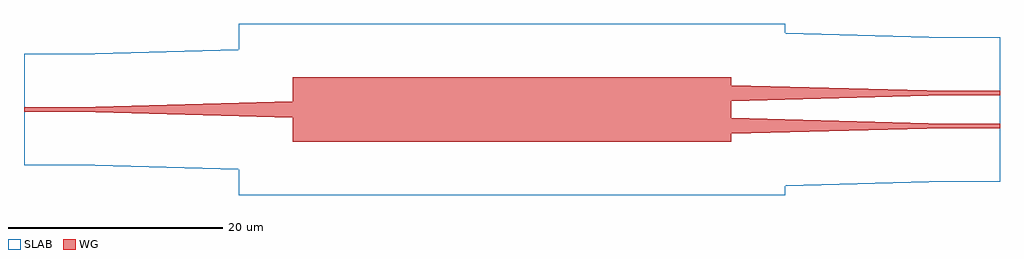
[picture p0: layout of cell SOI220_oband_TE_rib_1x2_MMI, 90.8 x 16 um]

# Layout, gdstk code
import gdstk
lib = gdstk.Library(unit=1e-6, precision=1e-09)
def R(c, l, rs):  # rectangles x0, y0, x1, y1
    for r in rs: c.add(gdstk.rectangle(r[:2], r[2:], *l))
def P(c, l, *ps):  # polygons
    for p in ps: c.add(gdstk.Polygon(p, *l))
WG = (3, 0)
SLAB = (5, 0)

soi220_oband_te_rib_1x2_ = lib.new_cell('SOI220_oband_TE_rib_1x2_MMI')
R(soi220_oband_te_rib_1x2_, WG, [(0,-3,40.8,3), (60.8,-1.725,65.8,-1.325), (-25,-0.2,-20,0.2), (60.8,1.325,65.8,1.725)])
P(soi220_oband_te_rib_1x2_, WG, [(0,-0.75),(-20,-0.2),(-20,0.2),(0,0.75)],
  [(40.8,0.775),(40.8,2.275),(60.8,1.725),(60.8,1.325)],
  [(40.8,-2.275),(40.8,-0.775),(60.8,-1.325),(60.8,-1.725)])
P(soi220_oband_te_rib_1x2_, SLAB, [(-5,-8),(-5,-5.614),(-20.055,-5.2),(-25,-5.2),(-25,5.2),(-20.055,5.2),(-5,5.614),(-5,8),(45.8,8),(45.8,7.139),(60.855,6.725),(65.8,6.725),(65.8,-6.725),(60.855,-6.725),(45.8,-7.139),(45.8,-8)])

lib.write_gds('SOI220_oband_TE_rib_1x2_MMI.gds')
